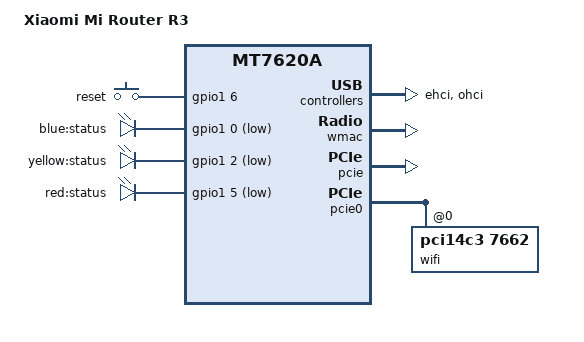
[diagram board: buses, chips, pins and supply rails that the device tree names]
// SPDX-License-Identifier: GPL-2.0-or-later OR MIT

#include "mt7620a.dtsi"

#include <dt-bindings/gpio/gpio.h>
#include <dt-bindings/input/input.h>

/ {
	compatible = "xiaomi,miwifi-r3", "ralink,mt7620a-soc";
	model = "Xiaomi Mi Router R3";

	aliases {
		led-status = &led_status_blue;
	};

	chosen {
		bootargs = "console=ttyS0,115200";
	};

	keys {
		compatible = "gpio-keys";

		reset {
			label = "reset";
			gpios = <&gpio1 6 GPIO_ACTIVE_HIGH>;
			linux,code = <KEY_RESTART>;
		};
	};

	leds {
		compatible = "gpio-leds";

		led_status_blue: blue {
			label = "blue:status";
			gpios = <&gpio1 0 GPIO_ACTIVE_LOW>;
			default-state = "on";
		};

		yellow {
			label = "yellow:status";
			gpios = <&gpio1 2 GPIO_ACTIVE_LOW>;
		};

		red {
			label = "red:status";
			gpios = <&gpio1 5 GPIO_ACTIVE_LOW>;
		};
	};

	nand {
		status = "okay";
		#address-cells = <1>;
		#size-cells = <1>;
		compatible = "mtk,mt7620-nand";

		partition@0 {
			label = "Bootloader";
			reg = <0x0 0x40000>;
			read-only;
		};

		partition@40000 {
			label = "Config";
			reg = <0x40000 0x40000>;
		};

		partition@80000 {
			label = "Bdata";
			reg = <0x80000 0x40000>;
			read-only;
		};

		factory: partition@0xc0000 {
			label = "factory";
			reg = <0xc0000 0x40000>;
			read-only;
		};

		partition@100000 {
			label = "crash";
			reg = <0x100000 0x40000>;
			read-only;
		};

		partition@140000 {
			label = "crash_syslog";
			reg = <0x140000 0x40000>;
			read-only;
		};

		partition@180000 {
			label = "reserved0";
			reg = <0x180000 0x80000>;
			read-only;
		};

		partition@200000 {
			label = "kernel_stock";
			reg = <0x200000 0x400000>;
		};

		partition@600000 {
			label = "kernel";
			reg = <0x600000 0x400000>;
		};

		/* ubi partition is the result of squashing
		 * next consequent stock partitions:
		 * - rootfs0 (rootfs partition for stock kernel0),
		 * - rootfs1 (rootfs partition for stock failsafe kernel1),
		 * - overlay (used as ubi overlay in stock fw)
		 * resulting 117,5MiB space for packages.
		 */
		partition@a00000 {
			label = "ubi";
			reg = <0xa00000 0x7600000>;
		};
	};
};

&gpio1 {
	status = "okay";
};

&ehci {
	status = "okay";
};

&ohci {
	status = "okay";
};

&ethernet {
	pinctrl-names = "default";
	pinctrl-0 = <&ephy_pins>;
	mtd-mac-address = <&factory 0x28>;
	mediatek,portmap = "llllw";
};

&wmac {
	ralink,mtd-eeprom = <&factory 0>;
};

&pcie {
	status = "okay";
};

&pcie0 {
	wifi@0,0 {
		compatible = "pci14c3,7662";
		reg = <0x0000 0 0 0 0>;
		mediatek,mtd-eeprom = <&factory 0x8000>;
		ieee80211-freq-limit = <5000000 6000000>;
	};
};

&pinctrl {
	state_default: pinctrl0 {
		gpio {
			groups = "rgmii1";
			function = "gpio";
		};

		pa {
			groups = "pa";
			function = "pa";
		};
	};
};
